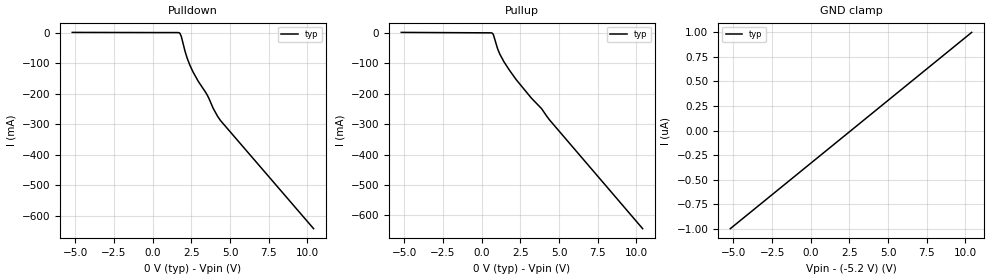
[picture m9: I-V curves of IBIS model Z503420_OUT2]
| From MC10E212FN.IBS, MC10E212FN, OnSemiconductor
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| (C) COPYRIGHT 1993-2000
| MENTOR GRAPHICS CORPORATION
| ICX STANDARD LIBRARY, ICX PROJECT MODELING,
| ICX CUSTOM MODELING, ICX VENDOR MODEL
| ALL RIGHTS RESERVED.
| THE FOLLOWING ARE TRADEMARKS OR SERVICE MARKS OF
| MENTOR GRAPHICS CORPORATION:ICX (R), ICX STANDARD
| LIBRARY(R), ICX PROJECT MODELING(R), ICX CUSTOM
| MODELING(R), qualityIBIS(TM), MODELVIEWER(TM),
| AND MODELEDITOR(TM)
| ALL COPIES OF SOFTWARE, INCLUDING BUT NOT LIMITED TO
| ANY MODIFICATIONS, ENHANCEMENTS OR DERIVATIVE WORKS,
| MUST CONTAIN ALL MENTOR GRAPHICS CORPORATION'S
| NOTICES AND LEGENDS, INCLUDING THOSE EMBEDDED IN
| SOFTWARE AND THOSE AFFIXED TO SOFTWARE MEDIUM
| AND CONTAINER, AS RECEIVED FROM MENTOR GRAPHICS
| CORPORATION.
| Model Application Version 1.89 2/18/99.
[Model] Z503420_OUT2
Model_type Output_ECL
Vref=-2.000V
Rref=50.00ohms
Cref=0.000F
Vmeas=-1.305V
C_comp 8.000pF NA NA
| variable typ   min   max
[Voltage Range] -5.200V NA NA
[POWER Clamp Reference] 0.000V NA NA
[Pullup Reference] 0.000V NA NA
[Pulldown Reference] 0.000V NA NA
[GND Clamp Reference] -5.200V NA NA
[GND Clamp]
-5.2V     -1uA       NA         NA
10.4V     1uA        NA         NA
[Pulldown]
-5.2V     561.5uA    NA         NA
1.604V    31.48uA    NA         NA
1.758V    -2.223mA   NA         NA
1.849V    -12.42mA   NA         NA
2.092V    -61.47mA   NA         NA
2.228V    -83.75mA   NA         NA
2.599V    -128.3mA   NA         NA
2.945V    -159.8mA   NA         NA
3.534V    -205.7mA   NA         NA
3.906V    -248mA     NA         NA
4.379V    -288.3mA   NA         NA
10.4V     -643.1mA   NA         NA
[Pullup]
-5.2V     1.3mA      NA         NA
683.6mV   -1.39mA    NA         NA
761.3mV   -7.341mA   NA         NA
1.025V    -52.23mA   NA         NA
1.167V    -69.86mA   NA         NA
1.438V    -95.3mA    NA         NA
2.231V    -154.1mA   NA         NA
3.203V    -214.2mA   NA         NA
3.867V    -249.1mA   NA         NA
4.38V     -286.1mA   NA         NA
10.4V     -643.5mA   NA         NA
[POWER Clamp]
-5.2V     0A         NA         NA
10.4V     0A         NA         NA
[Ramp]
| variable typ min max
dV/dt_r 600.2m/290.5p NA NA
dV/dt_f 600.2m/284.4p NA NA
R_load = 500.0Ohms
